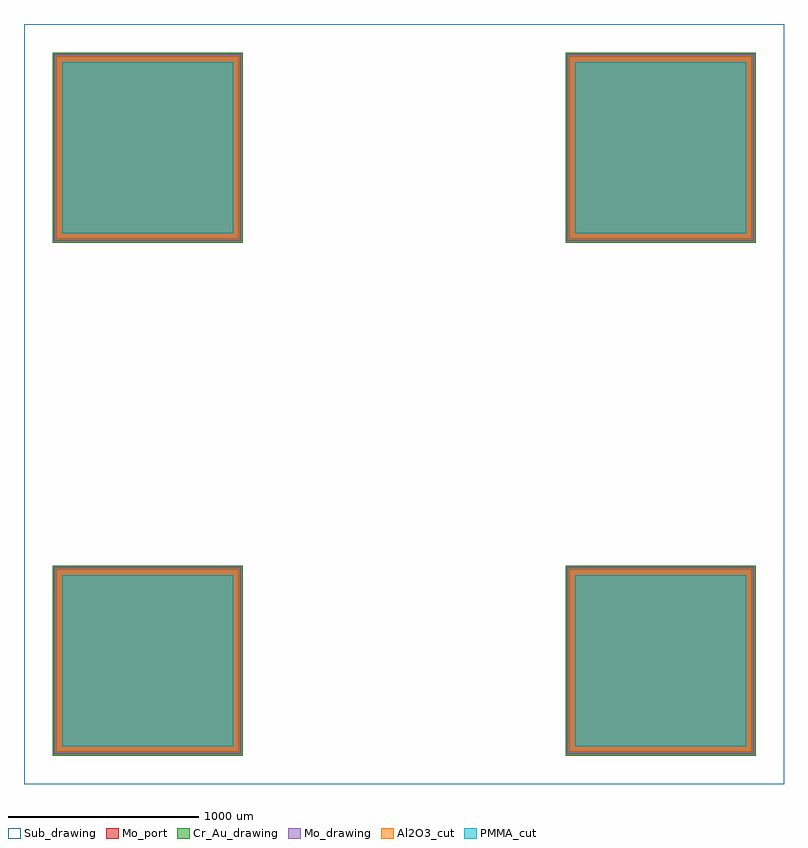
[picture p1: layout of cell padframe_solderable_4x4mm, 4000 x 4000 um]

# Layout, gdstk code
import gdstk
lib = gdstk.Library(unit=1e-6, precision=1e-09)
def R(c, l, rs):  # rectangles x0, y0, x1, y1
    for r in rs: c.add(gdstk.rectangle(r[:2], r[2:], *l))
Sub_drawing = (1, 0)
Cr_Au_drawing = (2, 0)
Al2O3_cut = (3, 0)
Mo_drawing = (5, 0)
Mo_port = (5, 2)
PMMA_cut = (6, 0)

padframe_solderable_4x4m = lib.new_cell('padframe_solderable_4x4mm')
R(padframe_solderable_4x4m, Sub_drawing, [(-2000,-2000,2000,2000)])
R(padframe_solderable_4x4m, Cr_Au_drawing, [(-1850,-1850,-850,-850), (850,-1850,1850,-850), (-1850,850,-850,1850), (850,850,1850,1850)])
R(padframe_solderable_4x4m, Al2O3_cut, [(-1830,-1830,-870,-870), (870,-1830,1830,-870), (-1830,870,-870,1830), (870,870,1830,1830)])
R(padframe_solderable_4x4m, Mo_drawing, [(-1840,-1840,-860,-860), (860,-1840,1840,-860), (-1840,860,-860,1840), (860,860,1840,1840)])
R(padframe_solderable_4x4m, Mo_port, [(-1850,-1850,-850,-850), (850,-1850,1850,-850), (-1850,850,-850,1850), (850,850,1850,1850)])
R(padframe_solderable_4x4m, PMMA_cut, [(-1800,-1800,-900,-900), (900,-1800,1800,-900), (-1800,900,-900,1800), (900,900,1800,1800)])

lib.write_gds('padframe_solderable_4x4mm.gds')
